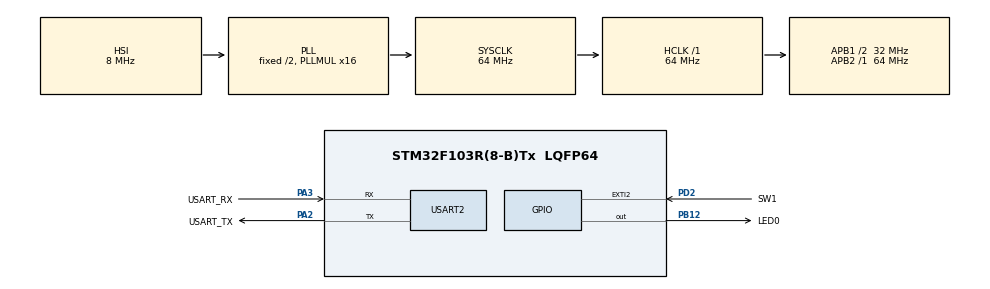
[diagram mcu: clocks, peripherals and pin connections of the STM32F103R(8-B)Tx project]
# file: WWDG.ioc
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Mcu.Family=STM32F1
Mcu.Name=STM32F103R(8-B)Tx
Mcu.Package=LQFP64
NVIC.EXTI2_IRQn=true\:0\:0\:false\:false\:true\:true\:true\:true
NVIC.PriorityGroup=NVIC_PRIORITYGROUP_4
PA13.GPIO_Label=TMS
PA13.Mode=Serial_Wire
PA13.Signal=SYS_JTMS-SWDIO
PA14.GPIO_Label=TCK
PA14.Mode=Serial_Wire
PA14.Signal=SYS_JTCK-SWCLK
PA2.GPIO_Label=USART_TX
PA2.GPIO_Mode=GPIO_MODE_AF_PP
PA2.GPIO_PuPd=GPIO_NOPULL
PA2.GPIO_Speed=GPIO_SPEED_FREQ_LOW
PA2.Mode=Asynchronous
PA2.Signal=USART2_TX
PA3.GPIO_Label=USART_RX
PA3.GPIO_Mode=GPIO_MODE_AF_PP
PA3.GPIO_PuPd=GPIO_NOPULL
PA3.GPIO_Speed=GPIO_SPEED_FREQ_LOW
PA3.Mode=Asynchronous
PA3.Signal=USART2_RX
PB12.GPIO_Label=LED0
PB12.Signal=GPIO_Output
PB3.GPIO_Label=SWO
PB3.Signal=SYS_JTDO-TRACESWO
PC14-OSC32_IN.Mode=LSE-External-Oscillator
PC14-OSC32_IN.Signal=RCC_OSC32_IN
PC15-OSC32_OUT.Mode=LSE-External-Oscillator
PC15-OSC32_OUT.Signal=RCC_OSC32_OUT
PD0-OSC_IN.Mode=HSE-External-Clock-Source
PD0-OSC_IN.Signal=RCC_OSC_IN
PD1-OSC_OUT.Mode=HSE-External-Clock-Source
PD1-OSC_OUT.Signal=RCC_OSC_OUT
PD2.GPIO_Label=SW1
PD2.GPIO_ModeDefaultEXTI=GPIO_MODE_IT_FALLING
PD2.Signal=GPXTI2
ProjectManager.HeapSize=0x200
ProjectManager.StackSize=0x400
ProjectManager.TargetToolchain=STM32CubeIDE
RCC.AHBFreq_Value=64000000
RCC.APB1CLKDivider=RCC_HCLK_DIV2
RCC.APB1Freq_Value=32000000
RCC.APB1TimFreq_Value=64000000
RCC.APB2Freq_Value=64000000
RCC.APB2TimFreq_Value=64000000
RCC.HCLKFreq_Value=64000000
RCC.PLLMUL=RCC_PLL_MUL16
RCC.RTCClockSelection=RCC_RTCCLKSOURCE_LSE
RCC.SYSCLKFreq_VALUE=64000000
RCC.SYSCLKSource=RCC_SYSCLKSOURCE_PLLCLK
RCC.USBFreq_Value=64000000
USART2.VirtualMode=VM_ASYNC
VP_WWDG_VS_WWDG.Mode=WWDG_Activate
WWDG.Counter=127
WWDG.Prescaler=WWDG_PRESCALER_8
WWDG.Window=80
board=NUCLEO-F103RB

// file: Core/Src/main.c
/* USER CODE BEGIN Header */
/**
  ******************************************************************************
  * @file           : main.c
  * @brief          : Main program body
  ******************************************************************************
  * @attention
  *
  * Copyright (c) 2024 STMicroelectronics.
  * All rights reserved.
  *
  * This software is licensed under terms that can be found in the LICENSE file
  * in the root directory of this software component.
  * If no LICENSE file comes with this software, it is provided AS-IS.
  *
  ******************************************************************************
  */
/* USER CODE END Header */
#include "main.h"

UART_HandleTypeDef huart2;

WWDG_HandleTypeDef hwwdg;

void SystemClock_Config(void);
static void MX_GPIO_Init(void);
static void MX_USART2_UART_Init(void);
static void MX_WWDG_Init(void);

int main(void)
{

  /* MCU Configuration--------------------------------------------------------*/

  /* Reset of all peripherals, Initializes the Flash interface and the Systick. */
  HAL_Init();

  /* Configure the system clock */
  SystemClock_Config();

  /* Initialize all configured peripherals */
  MX_GPIO_Init();
  MX_USART2_UART_Init();
  /* USER CODE BEGIN 2 */
  if(RESET != __HAL_RCC_GET_FLAG(RCC_FLAG_WWDGRST))
  {
	  HAL_GPIO_WritePin(LED0_GPIO_Port, LED0_Pin, 1);
	  HAL_Delay(4000);
	  __HAL_RCC_CLEAR_RESET_FLAGS();
  }
  MX_WWDG_Init();
  /* USER CODE END 2 */

  /* Infinite loop */
  /* USER CODE BEGIN WHILE */
  uint8_t i = 0;
  while (1)
  {
	  if(++i == 20)
	  {
		  i = 0;
		  HAL_GPIO_TogglePin(LED0_GPIO_Port, LED0_Pin);
	  }
	  HAL_Delay(50);
	  if(HAL_OK != HAL_WWDG_Refresh(&hwwdg))
	  {
		  Error_Handler();
	  }
    /* USER CODE END WHILE */

  }
}

void SystemClock_Config(void)
{
  RCC_OscInitTypeDef RCC_OscInitStruct = {0};
  RCC_ClkInitTypeDef RCC_ClkInitStruct = {0};

  /** Initializes the RCC Oscillators according to the specified parameters
  * in the RCC_OscInitTypeDef structure.
  */
  RCC_OscInitStruct.OscillatorType = RCC_OSCILLATORTYPE_HSI;
  RCC_OscInitStruct.HSIState = RCC_HSI_ON;
  RCC_OscInitStruct.HSICalibrationValue = RCC_HSICALIBRATION_DEFAULT;
  RCC_OscInitStruct.PLL.PLLState = RCC_PLL_ON;
  RCC_OscInitStruct.PLL.PLLSource = RCC_PLLSOURCE_HSI_DIV2;
  RCC_OscInitStruct.PLL.PLLMUL = RCC_PLL_MUL16;
  if (HAL_RCC_OscConfig(&RCC_OscInitStruct) != HAL_OK)
  {
    Error_Handler();
  }

  /** Initializes the CPU, AHB and APB buses clocks
  */
  RCC_ClkInitStruct.ClockType = RCC_CLOCKTYPE_HCLK|RCC_CLOCKTYPE_SYSCLK
                              |RCC_CLOCKTYPE_PCLK1|RCC_CLOCKTYPE_PCLK2;
  RCC_ClkInitStruct.SYSCLKSource = RCC_SYSCLKSOURCE_PLLCLK;
  RCC_ClkInitStruct.AHBCLKDivider = RCC_SYSCLK_DIV1;
  RCC_ClkInitStruct.APB1CLKDivider = RCC_HCLK_DIV2;
  RCC_ClkInitStruct.APB2CLKDivider = RCC_HCLK_DIV1;

  if (HAL_RCC_ClockConfig(&RCC_ClkInitStruct, FLASH_LATENCY_2) != HAL_OK)
  {
    Error_Handler();
  }
}

static void MX_USART2_UART_Init(void)
{

  huart2.Instance = USART2;
  huart2.Init.BaudRate = 115200;
  huart2.Init.WordLength = UART_WORDLENGTH_8B;
  huart2.Init.StopBits = UART_STOPBITS_1;
  huart2.Init.Parity = UART_PARITY_NONE;
  huart2.Init.Mode = UART_MODE_TX_RX;
  huart2.Init.HwFlowCtl = UART_HWCONTROL_NONE;
  huart2.Init.OverSampling = UART_OVERSAMPLING_16;
  if (HAL_UART_Init(&huart2) != HAL_OK)
  {
    Error_Handler();
  }

}

static void MX_WWDG_Init(void)
{

  hwwdg.Instance = WWDG;
  hwwdg.Init.Prescaler = WWDG_PRESCALER_8;
  hwwdg.Init.Window = 80;
  hwwdg.Init.Counter = 127;
  hwwdg.Init.EWIMode = WWDG_EWI_DISABLE;
  if (HAL_WWDG_Init(&hwwdg) != HAL_OK)
  {
    Error_Handler();
  }

}

static void MX_GPIO_Init(void)
{
  GPIO_InitTypeDef GPIO_InitStruct = {0};

  /* GPIO Ports Clock Enable */
  __HAL_RCC_GPIOC_CLK_ENABLE();
  __HAL_RCC_GPIOD_CLK_ENABLE();
  __HAL_RCC_GPIOA_CLK_ENABLE();
  __HAL_RCC_GPIOB_CLK_ENABLE();

  /*Configure GPIO pin Output Level */
  HAL_GPIO_WritePin(LED0_GPIO_Port, LED0_Pin, GPIO_PIN_RESET);

  /*Configure GPIO pin : LED0_Pin */
  GPIO_InitStruct.Pin = LED0_Pin;
  GPIO_InitStruct.Mode = GPIO_MODE_OUTPUT_PP;
  GPIO_InitStruct.Pull = GPIO_NOPULL;
  GPIO_InitStruct.Speed = GPIO_SPEED_FREQ_LOW;
  HAL_GPIO_Init(LED0_GPIO_Port, &GPIO_InitStruct);

  /*Configure GPIO pin : SW1_Pin */
  GPIO_InitStruct.Pin = SW1_Pin;
  GPIO_InitStruct.Mode = GPIO_MODE_IT_FALLING;
  GPIO_InitStruct.Pull = GPIO_NOPULL;
  HAL_GPIO_Init(SW1_GPIO_Port, &GPIO_InitStruct);

  /* EXTI interrupt init*/
  HAL_NVIC_SetPriority(EXTI2_IRQn, 0, 0);
  HAL_NVIC_EnableIRQ(EXTI2_IRQn);

}

/* USER CODE BEGIN 4 */
/**
  * @brief  EXTI line detection callbacks.
  * @param  GPIO_Pin: Specifies the pins connected EXTI line
  * @retval None
  */
void HAL_GPIO_EXTI_Callback(uint16_t GPIO_Pin)
{
  if(SW1_Pin == GPIO_Pin)
  {
	  while(1);
  }
}

/* USER CODE END 4 */

void Error_Handler(void)
{
  __disable_irq();
  while (1)
  {
  }
}
